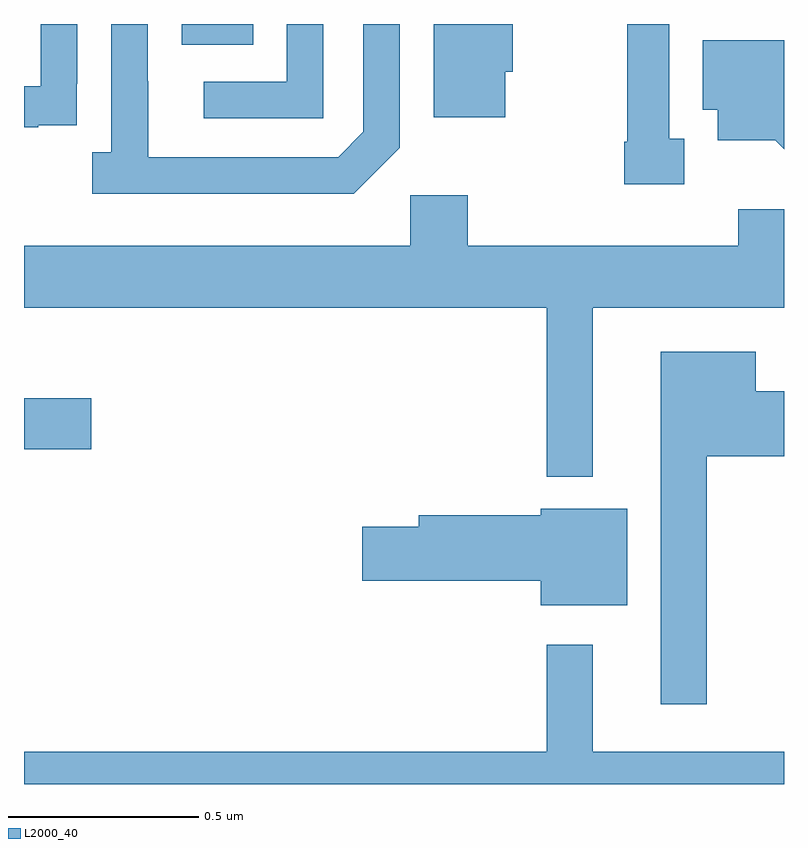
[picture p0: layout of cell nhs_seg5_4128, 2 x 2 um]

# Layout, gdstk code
import gdstk
lib = gdstk.Library(unit=1e-6, precision=1e-09)
def R(c, l, rs):  # rectangles x0, y0, x1, y1
    for r in rs: c.add(gdstk.rectangle(r[:2], r[2:], *l))
def P(c, l, *ps):  # polygons
    for p in ps: c.add(gdstk.Polygon(p, *l))
L2000_40 = (2000, 40)

nhs_seg5_4128 = lib.new_cell('nhs_seg5_4128')
R(nhs_seg5_4128, L2000_40, [(166,897.68,166.177,897.814), (166.415,898.745,166.603,898.799)])
P(nhs_seg5_4128, L2000_40, [(166.989,898.473),(166.989,898.799),(166.893,898.799),(166.893,898.515),(166.827,898.449),(166.327,898.449),(166.327,898.649),(166.326,898.649),(166.326,898.799),(166.23,898.799),(166.23,898.462),(166.179,898.462),(166.179,898.352),(166.868,898.352)],
  [(166.788,898.799),(166.692,898.799),(166.692,898.647),(166.473,898.647),(166.473,898.551),(166.788,898.551)],
  [(166.037,898.533),(166.139,898.533),(166.139,898.642),(166.14,898.642),(166.14,898.799),(166.044,898.799),(166.044,898.635),(166,898.635),(166,898.527),(166.037,898.527)],
  [(167.737,898.497),(167.698,898.497),(167.698,898.799),(167.587,898.799),(167.587,898.489),(167.58,898.489),(167.58,898.377),(167.737,898.377)],
  [(167.266,898.674),(167.286,898.674),(167.286,898.799),(167.078,898.799),(167.078,898.553),(167.266,898.553)],
  [(168,898.756),(167.786,898.756),(167.786,898.574),(167.825,898.574),(167.825,898.493),(167.977,898.493),(168,898.47)],
  [(167.497,898.052),(168,898.052),(168,898.312),(167.879,898.312),(167.879,898.216),(167.168,898.216),(167.168,898.348),(167.016,898.348),(167.016,898.216),(166,898.216),(166,898.052),(167.376,898.052),(167.376,897.608),(167.497,897.608)],
  [(167.797,897.662),(168,897.662),(168,897.832),(167.926,897.832),(167.926,897.937),(167.675,897.937),(167.675,897.009),(167.797,897.009)],
  [(167.587,897.523),(167.36,897.523),(167.36,897.506),(167.039,897.506),(167.039,897.476),(166.89,897.476),(166.89,897.334),(167.36,897.334),(167.36,897.269),(167.587,897.269)],
  [(168,896.884),(167.497,896.884),(167.497,897.166),(167.376,897.166),(167.376,896.884),(166,896.884),(166,896.799),(168,896.799)])

lib.write_gds('nhs_seg5_4128.gds')
